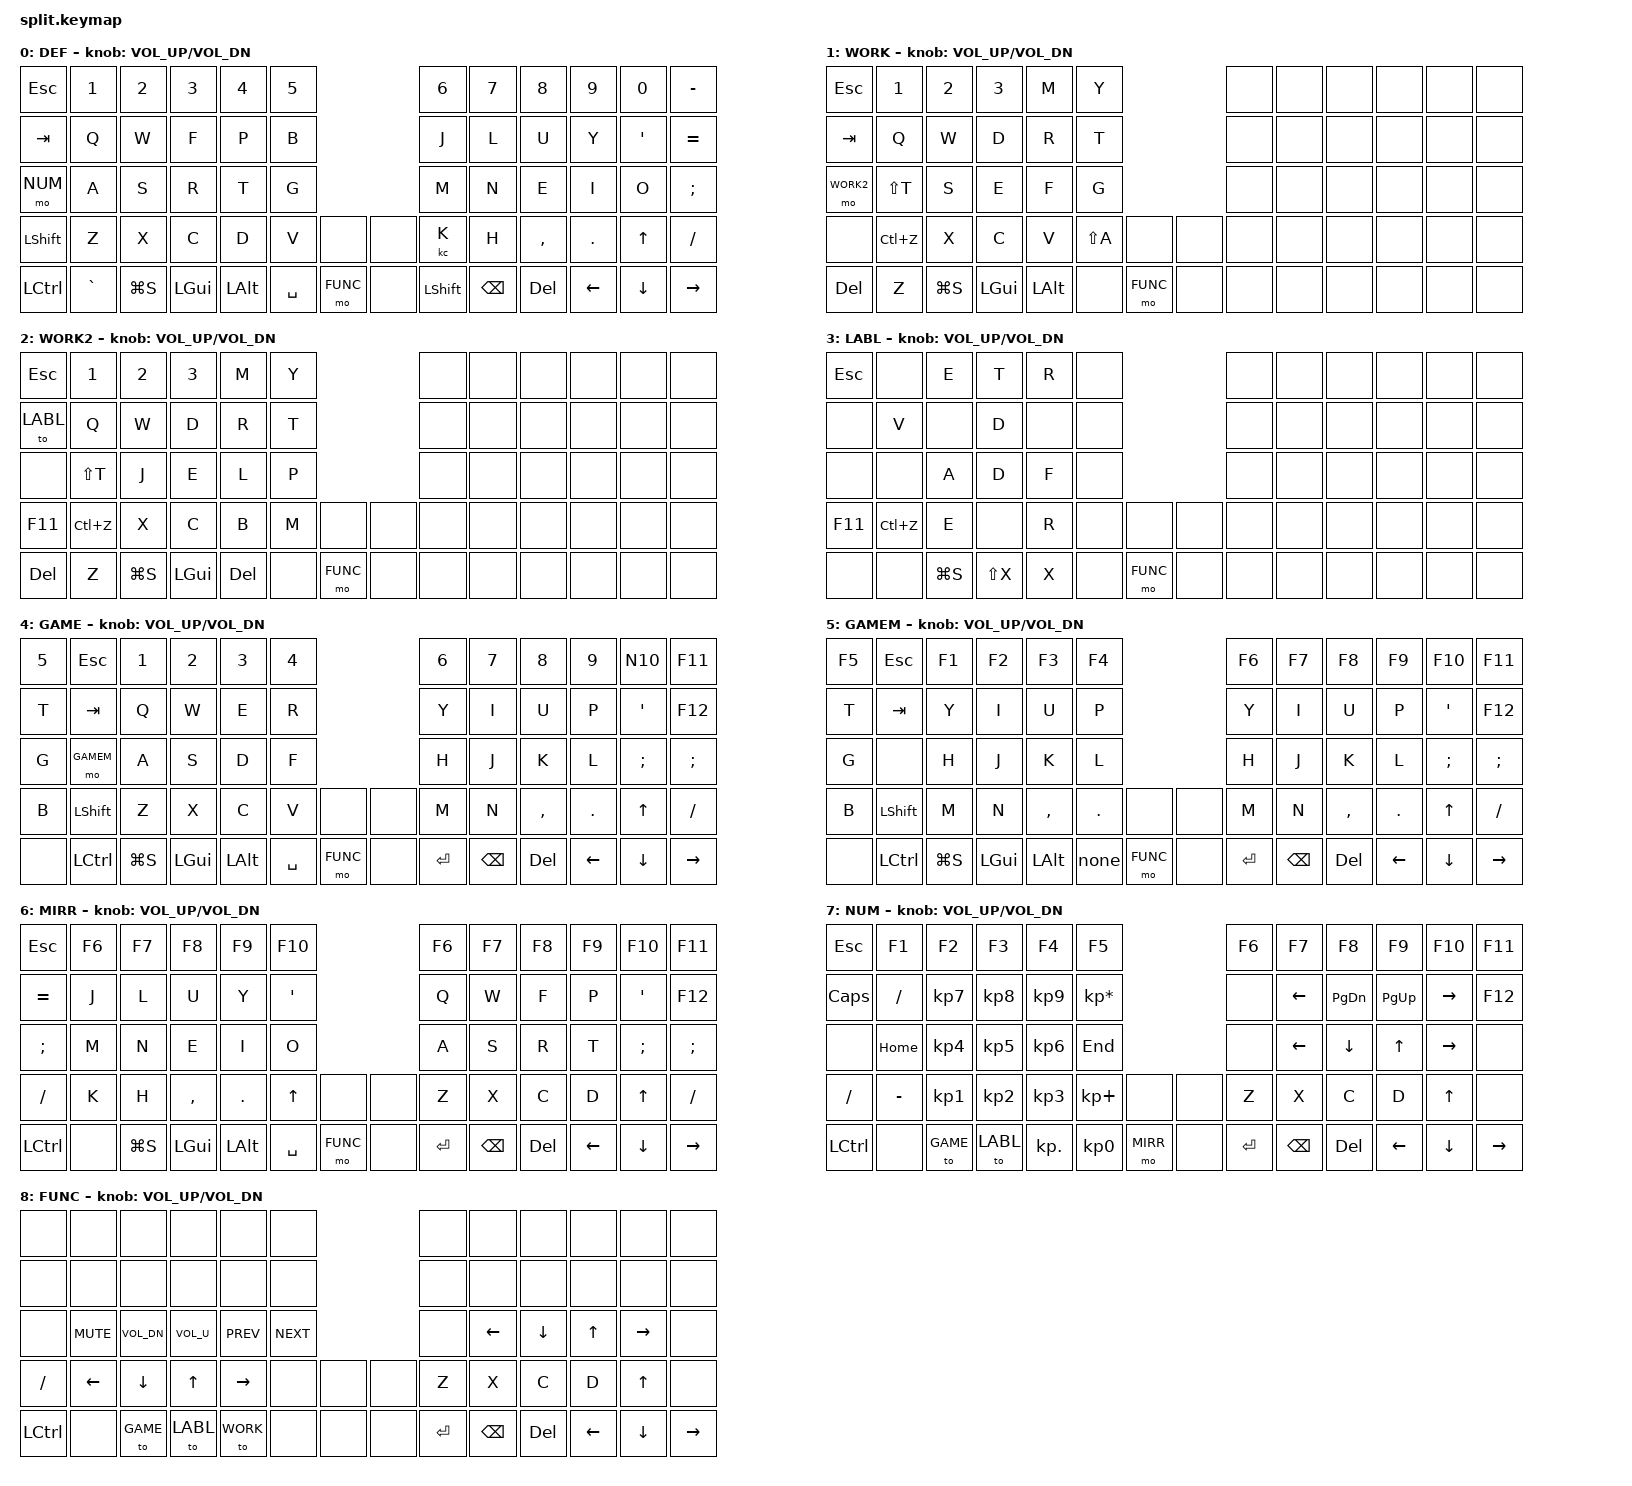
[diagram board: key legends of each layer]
#include <behaviors.dtsi>
#include <dt-bindings/zmk/keys.h>
#include <dt-bindings/zmk/bt.h>

#define DEF 	0
#define WORK	1
#define WORK2	2
#define LABL	3
#define GAME	4
#define GAMEM	5
#define MIRR	6
#define NUM		7
#define FUNC	8

/ {
	keymap {
		compatible = "zmk,keymap";

		DEF {
			bindings = <
				&kp ESC  	&kp N1		&kp N2		&kp N3		&kp N4		&kp N5							&kp N6		&kp N7		&kp N8		&kp N9		&kp N0		&kp MINUS
				&kp TAB	    &kp Q		&kp W		&kp F		&kp P		&kp B							&kp J		&kp L		&kp U		&kp Y		&kp APOS	&kp EQUAL
				&mo NUM		&kp A		&kp S		&kp R		&kp T		&kp G							&kp M		&kp N		&kp E		&kp I		&kp O		&kp SEMICOLON
				&kp LSHIFT	&kp Z		&kp X		&kp C		&kp D		&kp V		&none		&none	&kc K		&kp H		&kp COMMA	&kp PERIOD	&kp UP		&kp SLASH
				&kp LCTRL	&kp GRAVE	&kp LG(S)	&kp LGUI	&kp LALT	&kp SPACE	&mo FUNC 	&none	&kp LSHIFT	&kp BSPC	&kp DEL		&kp LEFT	&kp DOWN	&kp RIGHT
			>;

			sensor-bindings = <&inc_dec_kp C_VOL_UP C_VOL_DN>;

		};

		WORK {
			bindings = <
				&kp ESC		&kp N1	    &kp N2	    &kp N3		&kp M		&kp Y							&none	&none	&none	&none	&none	&none
				&kp TAB		&kp Q 		&kp W		&kp D		&kp R		&kp T							&none	&none	&none	&none	&none	&none
				&mo WORK2	&kp LS(T)	&kp S    	&kp E 		&kp F		&kp G							&none	&none	&none	&none	&none	&none
				&none 		&kp LC(Z)	&kp X		&kp C		&kp V		&kp LS(A)	&none		&none	&none	&none	&none	&none	&none	&none
				&kp DEL		&kp Z 		&kp LG(S)	&kp LGUI	&kp LALT	&none		&mo FUNC	&none	&none	&none	&none	&none	&none	&none
			>;

			sensor-bindings = <&inc_dec_kp C_VOL_UP C_VOL_DN>;

		};

		WORK2 {
			bindings = <
				&kp ESC		&kp N1	    &kp N2	    &kp N3		&kp M		&kp Y							&none	&none	&none	&none	&none	&none
				&to LABL	&kp Q 		&kp W		&kp D		&kp R		&kp T							&none	&none	&none	&none	&none	&none
				&none		&kp LS(T)	&kp J    	&kp E 		&kp L		&kp P							&none	&none	&none	&none	&none	&none
				&kp F11		&kp LC(Z)	&kp X		&kp C		&kp B		&kp M		&none		&none	&none	&none	&none	&none	&none	&none
				&kp DEL		&kp Z 		&kp LG(S)	&kp LGUI	&kp DEL		&none		&mo FUNC	&none	&none	&none	&none	&none	&none	&none
			>;

			sensor-bindings = <&inc_dec_kp C_VOL_UP C_VOL_DN>;

		};

		LABL {
			bindings = <
				&kp ESC		&none	    &kp E	    &kp T		&kp R		&none							&none	&none	&none	&none	&none	&none
				&none		&kp V 		&none		&kp D		&none		&none							&none	&none	&none	&none	&none	&none
				&none		&none		&kp A    	&kp D 		&kp F		&none							&none	&none	&none	&none	&none	&none
				&kp F11		&kp LC(Z)	&kp E		&none		&kp R		&none		&none		&none	&none	&none	&none	&none	&none	&none
				&none		&none 		&kp LG(S)	&kp LS(X)	&kp X		&none		&mo FUNC	&none	&none	&none	&none	&none	&none	&none
			>;

			sensor-bindings = <&inc_dec_kp C_VOL_UP C_VOL_DN>;

		};

		GAME {
			bindings = <
				&kp N5		&kp ESC	    &kp N1	    &kp N2		&kp N3		&kp N4							&kp N6		&kp N7		&kp N8		&kp N9		&kp N10			&kp F11
				&kp T		&kp TAB		&kp Q		&kp W		&kp E		&kp R							&kp Y		&kp I		&kp U		&kp P		&kp APOS		&kp F12
				&kp G		&mo GAMEM	&kp A    	&kp S 		&kp D		&kp F							&kp H		&kp J		&kp K		&kp L		&kp SEMICOLON	&kp SEMICOLON
				&kp B		&kp LSHIFT	&kp Z		&kp X		&kp C		&kp V		&none		&none	&kp M		&kp N		&kp COMMA	&kp PERIOD	&kp UP			&kp SLASH
				&none		&kp LCTRL	&kp LG(S)	&kp LGUI	&kp LALT	&kp SPACE	&mo FUNC	&none	&kp ENTER	&kp BSPC	&kp DEL		&kp LEFT	&kp DOWN		&kp RIGHT
			>;

			sensor-bindings = <&inc_dec_kp C_VOL_UP C_VOL_DN>;

		};

		GAMEM {
			bindings = <
				&kp F5		&kp ESC	    &kp F1	    &kp F2		&kp F3		&kp F4							&kp F6		&kp F7		&kp F8		&kp F9		&kp F10			&kp F11
				&kp T		&kp TAB		&kp Y		&kp I		&kp U		&kp P							&kp Y		&kp I		&kp U		&kp P		&kp APOS		&kp F12
				&kp G		&none		&kp H    	&kp J 		&kp K		&kp L							&kp H		&kp J		&kp K		&kp L		&kp SEMICOLON	&kp SEMICOLON
				&kp B		&kp LSHIFT	&kp M		&kp N		&kp COMMA	&kp PERIOD	&none		&none	&kp M		&kp N		&kp COMMA	&kp PERIOD	&kp UP			&kp SLASH
				&none		&kp LCTRL	&kp LG(S)	&kp LGUI	&kp LALT	&kp none	&mo FUNC	&none	&kp ENTER	&kp BSPC	&kp DEL		&kp LEFT	&kp DOWN		&kp RIGHT
			>;

			sensor-bindings = <&inc_dec_kp C_VOL_UP C_VOL_DN>;

		};

		MIRR {
			bindings = <
				&kp ESC			&kp F6	    &kp F7	    &kp F8		&kp F9		&kp F10							&kp F6		&kp F7		&kp F8		&kp F9		&kp F10			&kp F11
				&kp EQUAL		&kp J		&kp L		&kp U		&kp Y		&kp APOS						&kp Q		&kp W		&kp F		&kp P		&kp APOS		&kp F12
				&kp SEMICOLON	&kp M		&kp N    	&kp E 		&kp I		&kp O							&kp A		&kp S		&kp R		&kp T		&kp SEMICOLON	&kp SEMICOLON
				&kp SLASH		&kp K		&kp H		&kp COMMA	&kp PERIOD	&kp UP		&none		&none	&kp Z		&kp X		&kp C		&kp D		&kp UP			&kp SLASH
				&kp LCTRL		&none		&kp LG(S)	&kp LGUI	&kp LALT	&kp SPACE	&mo FUNC	&none	&kp ENTER	&kp BSPC	&kp DEL		&kp LEFT	&kp DOWN		&kp RIGHT
			>;

			sensor-bindings = <&inc_dec_kp C_VOL_UP C_VOL_DN>;

		};

		NUM {
			bindings = <
				&kp ESC		&kp F1	    	&kp F2	    &kp F3		&kp F4		&kp F5							&kp F6		&kp F7		&kp F8		&kp F9		&kp F10		&kp F11
				&kp CAPS	&kp DIVIDE		&kp KP_N7	&kp KP_N8	&kp KP_N9	&kp KP_ASTERISK					&none		&kp LEFT	&kp PG_DN	&kp PG_UP	&kp RIGHT	&kp F12
				&none		&kp HOME		&kp KP_N4  	&kp KP_N5	&kp KP_N6	&kp END							&none		&kp LEFT	&kp DOWN	&kp UP		&kp RIGHT	&none
				&kp SLASH	&kp SUBTRACT	&kp KP_N1	&kp KP_N2	&kp KP_N3	&kp KP_PLUS	&none		&none	&kp Z		&kp X		&kp C		&kp D		&kp UP		&none
				&kp LCTRL	&none			&to GAME	&to LABL	&kp KP_DOT	&kp KP_N0	&mo MIRR	&none	&kp ENTER	&kp BSPC	&kp DEL		&kp LEFT	&kp DOWN	&kp RIGHT
			>;

			sensor-bindings = <&inc_dec_kp C_VOL_UP C_VOL_DN>;

		};

		FUNC {
			bindings = <
				&none		&none	    &none	    	&none		&none		&none							&none		&none		&none		&none		&none		&none
				&none		&none	 	&none			&none		&none		&none							&none		&none		&none		&none		&none		&none
				&none		&kp K_MUTE	&kp K_VOL_DN  	&kp K_VOL_U	&kp K_PREV	&kp K_NEXT						&none		&kp LEFT	&kp DOWN	&kp UP		&kp RIGHT	&none
				&kp SLASH	&kp LEFT	&kp DOWN		&kp UP		&kp RIGHT	&none		&none	&none		&kp Z		&kp X		&kp C		&kp D		&kp UP		&none
				&kp LCTRL	&none		&to GAME		&to LABL	&to WORK	&none		&none	&none		&kp ENTER	&kp BSPC	&kp DEL		&kp LEFT	&kp DOWN	&kp RIGHT
			>;

			sensor-bindings = <&inc_dec_kp C_VOL_UP C_VOL_DN>;

		};
	};
};
